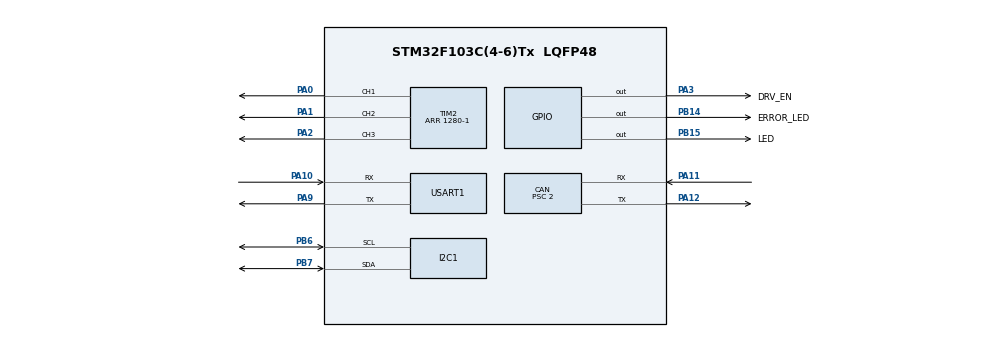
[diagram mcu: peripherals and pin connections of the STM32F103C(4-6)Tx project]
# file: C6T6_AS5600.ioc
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CAN.ABOM=ENABLE
CAN.AWUM=ENABLE
CAN.BS1=CAN_BS1_11TQ
CAN.BS2=CAN_BS2_4TQ
CAN.CalculateBaudRate=1000000
CAN.CalculateTimeBit=1000
CAN.CalculateTimeQuantum=62.5
CAN.NART=ENABLE
CAN.Prescaler=2
Dma.Request0=USART1_RX
Dma.USART1_RX.0.Direction=DMA_PERIPH_TO_MEMORY
Dma.USART1_RX.0.Instance=DMA1_Channel5
Dma.USART1_RX.0.MemDataAlignment=DMA_MDATAALIGN_BYTE
Dma.USART1_RX.0.MemInc=DMA_MINC_ENABLE
Dma.USART1_RX.0.Mode=DMA_CIRCULAR
Dma.USART1_RX.0.PeriphDataAlignment=DMA_PDATAALIGN_BYTE
Dma.USART1_RX.0.PeriphInc=DMA_PINC_DISABLE
Dma.USART1_RX.0.Priority=DMA_PRIORITY_LOW
I2C1.I2C_Mode=I2C_Fast
Mcu.Family=STM32F1
Mcu.Name=STM32F103C(4-6)Tx
Mcu.Package=LQFP48
NVIC.DMA1_Channel5_IRQn=true\:0\:0\:false\:false\:true\:false\:true\:true
NVIC.PriorityGroup=NVIC_PRIORITYGROUP_4
NVIC.TIM1_UP_IRQn=true\:1\:0\:true\:false\:true\:true\:true\:true
NVIC.USART1_IRQn=true\:1\:0\:true\:false\:true\:true\:true\:true
NVIC.USB_LP_CAN1_RX0_IRQn=true\:0\:0\:false\:false\:true\:true\:true\:true
PA0-WKUP.Signal=S_TIM2_CH1_ETR
PA1.Signal=S_TIM2_CH2
PA10.Mode=Asynchronous
PA10.Signal=USART1_RX
PA11.Mode=CAN_Activate
PA11.Signal=CAN_RX
PA12.Mode=CAN_Activate
PA12.Signal=CAN_TX
PA13.Mode=Serial_Wire
PA13.Signal=SYS_JTMS-SWDIO
PA14.Mode=Serial_Wire
PA14.Signal=SYS_JTCK-SWCLK
PA2.Signal=S_TIM2_CH3
PA3.GPIO_Label=DRV_EN
PA3.Signal=GPIO_Output
PA9.Mode=Asynchronous
PA9.Signal=USART1_TX
PB14.GPIO_Label=ERROR_LED
PB14.Signal=GPIO_Output
PB15.GPIO_Label=LED
PB15.Signal=GPIO_Output
PB6.Mode=I2C
PB6.Signal=I2C1_SCL
PB7.Mode=I2C
PB7.Signal=I2C1_SDA
PD0-OSC_IN.Mode=HSE-External-Oscillator
PD0-OSC_IN.Signal=RCC_OSC_IN
PD1-OSC_OUT.Mode=HSE-External-Oscillator
PD1-OSC_OUT.Signal=RCC_OSC_OUT
ProjectManager.HeapSize=0x200
ProjectManager.StackSize=0x400
ProjectManager.TargetToolchain=MDK-ARM V5.32
RCC.AHBFreq_Value=64000000
RCC.APB1CLKDivider=RCC_HCLK_DIV2
RCC.APB1Freq_Value=32000000
RCC.APB1TimFreq_Value=64000000
RCC.APB2Freq_Value=64000000
RCC.APB2TimFreq_Value=64000000
RCC.HCLKFreq_Value=64000000
RCC.PLLMUL=RCC_PLL_MUL8
RCC.PLLSourceVirtual=RCC_PLLSOURCE_HSE
RCC.SYSCLKFreq_VALUE=64000000
RCC.SYSCLKSource=RCC_SYSCLKSOURCE_PLLCLK
RCC.USBFreq_Value=64000000
SH.S_TIM2_CH1_ETR.0=TIM2_CH1,PWM Generation1 CH1
SH.S_TIM2_CH2.0=TIM2_CH2,PWM Generation2 CH2
SH.S_TIM2_CH3.0=TIM2_CH3,PWM Generation3 CH3
TIM1.Period=64-1
TIM2.Channel-PWM\ Generation1\ CH1=TIM_CHANNEL_1
TIM2.Channel-PWM\ Generation2\ CH2=TIM_CHANNEL_2
TIM2.Channel-PWM\ Generation3\ CH3=TIM_CHANNEL_3
TIM2.CounterMode=TIM_COUNTERMODE_CENTERALIGNED1
TIM2.Period=1280-1
USART1.VirtualMode=VM_ASYNC
VP_TIM1_VS_ClockSourceINT.Mode=Internal
board=custom

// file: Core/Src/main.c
/* USER CODE BEGIN Header */
/**
  ******************************************************************************
  * @file           : main.c
  * @brief          : Main program body
  ******************************************************************************
  * @attention
  *
  * Copyright (c) 2024 STMicroelectronics.
  * All rights reserved.
  *
  * This software is licensed under terms that can be found in the LICENSE file
  * in the root directory of this software component.
  * If no LICENSE file comes with this software, it is provided AS-IS.
  *
  ******************************************************************************
  */
/* USER CODE END Header */
#include "main.h"
#include "can.h"
#include "dma.h"
#include "i2c.h"
#include "tim.h"
#include "usart.h"
#include "gpio.h"

/* USER CODE BEGIN Includes */
#include "as5600.h"
#include "FlashStorage.h"
#include "SimpleKalman.h"
#include "mission_can.h"
#include "BLDCMotor.h"
#include "mission_uart.h"
#include "Beep.h"
/* USER CODE END Includes */

/* USER CODE BEGIN PV */
float targetVotage=0;
/* USER CODE END PV */

void SystemClock_Config(void);

int main(void)
{

  /* MCU Configuration--------------------------------------------------------*/

  /* Reset of all peripherals, Initializes the Flash interface and the Systick. */
  HAL_Init();

  /* Configure the system clock */
  SystemClock_Config();

  /* Initialize all configured peripherals */
  MX_GPIO_Init();
  MX_DMA_Init();
  MX_CAN_Init();
  MX_TIM1_Init();
  MX_TIM2_Init();
  MX_USART1_UART_Init();
  MX_I2C1_Init();
  /* USER CODE BEGIN 2 */
  //STM32的IIC通病 可能有BUG 内核重启后IIC可能有概率不工作
  as5600Init();

  Kalman_Init(&angleFilter, 0.0005f, 0.1f);

   motorID = Flash_ReadMotorID();
   motorID = motorID ? motorID : 1;
   printf("ID:%1d\r\n",motorID);
//
//
  Motor_Init();
  FOC_Init();
  USART_DMA_StartReceive();
  Motor_PlaySong();
  CAN_Init();

  /* USER CODE END 2 */

  /* Infinite loop */
  while (1)
  {

    /* USER CODE BEGIN 3 */
    setTargetVotage(targetVotage);
    loopFOC();
  }
  /* USER CODE END 3 */
}

void SystemClock_Config(void)
{
  LL_FLASH_SetLatency(LL_FLASH_LATENCY_2);
  while(LL_FLASH_GetLatency()!= LL_FLASH_LATENCY_2)
  {
  }
  LL_RCC_HSE_Enable();

   /* Wait till HSE is ready */
  while(LL_RCC_HSE_IsReady() != 1)
  {

  }
  LL_RCC_PLL_ConfigDomain_SYS(LL_RCC_PLLSOURCE_HSE_DIV_1, LL_RCC_PLL_MUL_8);
  LL_RCC_PLL_Enable();

   /* Wait till PLL is ready */
  while(LL_RCC_PLL_IsReady() != 1)
  {

  }
  LL_RCC_SetAHBPrescaler(LL_RCC_SYSCLK_DIV_1);
  LL_RCC_SetAPB1Prescaler(LL_RCC_APB1_DIV_2);
  LL_RCC_SetAPB2Prescaler(LL_RCC_APB2_DIV_1);
  LL_RCC_SetSysClkSource(LL_RCC_SYS_CLKSOURCE_PLL);

   /* Wait till System clock is ready */
  while(LL_RCC_GetSysClkSource() != LL_RCC_SYS_CLKSOURCE_STATUS_PLL)
  {

  }
  LL_SetSystemCoreClock(64000000);

   /* Update the time base */
  if (HAL_InitTick (TICK_INT_PRIORITY) != HAL_OK)
  {
    Error_Handler();
  }
}

void Error_Handler(void)
{
  __disable_irq();
  while (1)
  {
  }
}
